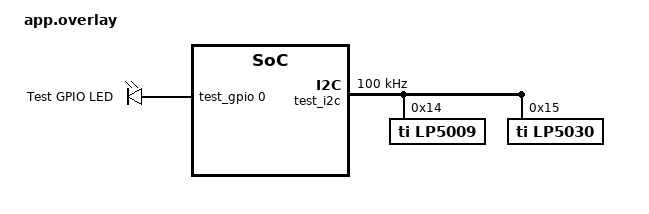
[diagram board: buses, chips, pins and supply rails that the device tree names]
/*
 * Copyright (c) 2020, Linaro Ltd.
 *
 * SPDX-License-Identifier: Apache-2.0
 *
 * Application overlay for testing driver builds
 *
 * Names in this file should be chosen in a way that won't conflict
 * with real-world devicetree nodes, to allow these tests to run on
 * (and be extended to test) real hardware.
 */

/ {
	test {
		#address-cells = <1>;
		#size-cells = <1>;

		test_gpio: gpio@deadbeef {
			compatible = "vnd,gpio";
			gpio-controller;
			reg = <0xdeadbeef 0x1000>;
			#gpio-cells = <0x2>;
			label = "TEST_GPIO_1";
			status = "okay";
		};

		test_gpio_leds {
			compatible = "gpio-leds";
			test_gpio_led0: test_gpio_led_0 {
				gpios = <&test_gpio 0 0>;
				label = "Test GPIO LED";
			};
		};

		test_i2c: i2c@11112222 {
			#address-cells = <1>;
			#size-cells = <0>;
			compatible = "vnd,i2c";
			reg = <0x11112222 0x1000>;
			label = "TEST_I2C_CTLR";
			status = "okay";
			clock-frequency = <100000>;

			test_i2c_lp5009: lp5009@14 {
				compatible = "ti,lp5009", "ti,lp50xx";
				reg = <0x14>;
				label = "LP5009";

				led_0 {
					label = "LED LP5009 0";
					index = <0>;
					color-mapping =
						<0>,
						<1>,
						<2>;
				};
			};

			test_i2c_lp503x: lp503x@15 {
					compatible = "ti,lp5030", "ti,lp50xx";
					reg = <0x15>;
					label = "LP5030";

					led_0 {
						label = "LED LP5030 0";
						index = <0>;
						color-mapping =
							<0>,
							<1>,
							<2>;
					};
			};
		};
	};
};
